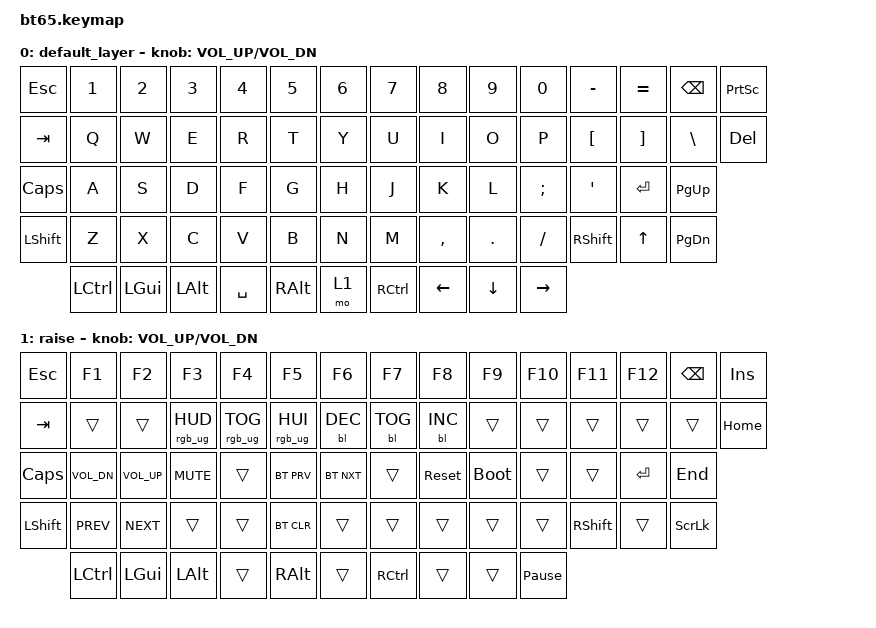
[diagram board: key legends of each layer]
#include <behaviors.dtsi>
#include <dt-bindings/zmk/backlight.h>
#include <dt-bindings/zmk/bt.h>
#include <dt-bindings/zmk/keys.h>
#include <dt-bindings/zmk/rgb.h>

/ {
    keymap {
        compatible = "zmk,keymap";

        default_layer {
            // ------------------------------------------------------------------------------------------------------------
            // |  `  |  1  |  2  |  3  |  4  |  5  |  6  |  7  |  8  |  9  |  0  |  -  |  =  |BKSP | PSCRN		|
            // | TAB  |  Q  |  W  |  E  |  R  |  T  |  Y  |  U  |  I  |  O  |  P  |  [  |  ]  |   \    | DEL		|
            // | CAPS  |  A  |  S  |  D  |  F  |  G  |  H  |  J  |  K  |  L  |  ;  |  '  |     ENTER    |PGUP	|
            // |  SHIFT  |  Z  |  X  |  C  |  V  |  B  |  N  |  M  |  ,  |  .  | /   |   SHIFT  | UP   | PGDN|
            // |  CTL  |  WIN  |  ALT  |            SPACE               | ALT | 1    |  MENU| LEFT |  DOWN    | RIGHT	|
            // ------------------------------------------------------------------------------------------------------------

            bindings = <
&kp ESC    &kp N1     &kp N2    &kp N3    &kp N4     &kp N5    &kp N6  &kp N7     &kp N8     &kp N9    &kp N0     &kp MINUS  &kp EQUAL  &kp BKSP   &kp PSCRN
&kp TAB    &kp Q      &kp W     &kp E     &kp R      &kp T     &kp Y   &kp U      &kp I      &kp O     &kp P      &kp LBKT   &kp RBKT   &kp BSLH   &kp DEL
&kp CLCK   &kp A      &kp S     &kp D     &kp F      &kp G     &kp H   &kp J      &kp K      &kp L     &kp SEMI   &kp SQT    &kp RET    &kp PG_UP
&kp LSHFT  &kp Z      &kp X     &kp C     &kp V      &kp B     &kp N   &kp M      &kp COMMA  &kp DOT   &kp FSLH   &kp RSHFT  &kp UP     &kp PG_DN
           &kp LCTRL  &kp LGUI  &kp LALT  &kp SPACE  &kp RALT  &mo 1   &kp RCTRL  &kp LEFT   &kp DOWN  &kp RIGHT
            >;

            sensor-bindings = <&inc_dec_kp C_VOL_UP C_VOL_DN>;
        };

        raise {
            bindings = <
&kp ESC    &kp F1        &kp F2        &kp F3           &kp F4           &kp F5           &kp F6      &kp F7      &kp F8      &kp F9       &kp F10          &kp F11    &kp F12  &kp BSPC  &kp INS
&kp TAB    &trans        &trans        &rgb_ug RGB_HUD  &rgb_ug RGB_TOG  &rgb_ug RGB_HUI  &bl BL_DEC  &bl BL_TOG  &bl BL_INC  &trans       &trans           &trans     &trans   &trans    &kp HOME
&kp CLCK   &kp C_VOL_DN  &kp C_VOL_UP  &kp C_MUTE       &trans           &bt BT_PRV       &bt BT_NXT  &trans      &sys_reset  &bootloader  &trans           &trans     &kp RET  &kp END
&kp LSHFT  &kp C_PREV    &kp C_NEXT    &trans           &trans           &bt BT_CLR       &trans      &trans      &trans      &trans       &trans           &kp RSHFT  &trans   &kp SLCK
           &kp LCTRL     &kp LGUI      &kp LALT         &trans           &kp RALT         &trans      &kp RCTRL   &trans      &trans       &kp PAUSE_BREAK
            >;

            sensor-bindings = <&inc_dec_kp C_VOL_UP C_VOL_DN>;
        };
    };
};
